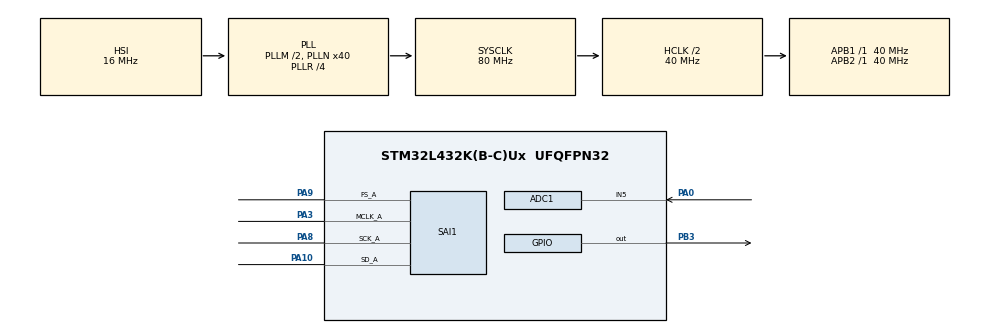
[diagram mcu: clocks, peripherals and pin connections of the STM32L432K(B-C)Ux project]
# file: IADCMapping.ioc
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ADC1.Channel-0\#ChannelRegularConversion=ADC_CHANNEL_5
ADC1.ClockPrescaler=ADC_CLOCK_ASYNC_DIV4
ADC1.DMAContinuousRequests=ENABLE
ADC1.DataAlign=ADC_DATAALIGN_RIGHT
ADC1.ExternalTrigConv=ADC_EXTERNALTRIG_T6_TRGO
ADC1.NbrOfConversion=1
ADC1.NbrOfConversionFlag=1
ADC1.OffsetNumber-0\#ChannelRegularConversion=ADC_OFFSET_NONE
ADC1.Overrun=ADC_OVR_DATA_OVERWRITTEN
ADC1.OversamplingMode=DISABLE
ADC1.Rank-0\#ChannelRegularConversion=1
ADC1.SamplingTime-0\#ChannelRegularConversion=ADC_SAMPLETIME_247CYCLES_5
ADC1.master=1
Dma.ADC1.0.Direction=DMA_PERIPH_TO_MEMORY
Dma.ADC1.0.Instance=DMA1_Channel1
Dma.ADC1.0.MemDataAlignment=DMA_MDATAALIGN_HALFWORD
Dma.ADC1.0.MemInc=DMA_MINC_ENABLE
Dma.ADC1.0.Mode=DMA_CIRCULAR
Dma.ADC1.0.PeriphDataAlignment=DMA_PDATAALIGN_HALFWORD
Dma.ADC1.0.PeriphInc=DMA_PINC_DISABLE
Dma.ADC1.0.Priority=DMA_PRIORITY_HIGH
Dma.Request0=ADC1
Dma.Request1=SAI1_A
Dma.SAI1_A.1.Direction=DMA_MEMORY_TO_PERIPH
Dma.SAI1_A.1.Instance=DMA2_Channel1
Dma.SAI1_A.1.MemDataAlignment=DMA_MDATAALIGN_HALFWORD
Dma.SAI1_A.1.MemInc=DMA_MINC_ENABLE
Dma.SAI1_A.1.Mode=DMA_CIRCULAR
Dma.SAI1_A.1.PeriphDataAlignment=DMA_PDATAALIGN_HALFWORD
Dma.SAI1_A.1.PeriphInc=DMA_PINC_DISABLE
Dma.SAI1_A.1.Priority=DMA_PRIORITY_HIGH
Mcu.Family=STM32L4
Mcu.Name=STM32L432K(B-C)Ux
Mcu.Package=UFQFPN32
NVIC.ADC1_IRQn=true\:0\:0\:false\:false\:true\:true\:true\:true
NVIC.DMA1_Channel1_IRQn=true\:0\:0\:false\:false\:true\:false\:true\:true
NVIC.DMA2_Channel1_IRQn=true\:0\:0\:false\:false\:true\:false\:true\:true
NVIC.PriorityGroup=NVIC_PRIORITYGROUP_4
NVIC.SAI1_IRQn=true\:0\:0\:false\:false\:true\:true\:true\:true
PA0.Signal=ADCx_IN5
PA10.Mode=SAI_A_MasterWithClock
PA10.Signal=SAI1_SD_A
PA3.Mode=SAI_A_MasterWithClock
PA3.Signal=SAI1_MCLK_A
PA8.Mode=SAI_A_MasterWithClock
PA8.Signal=SAI1_SCK_A
PA9.Mode=SAI_A_MasterWithClock
PA9.Signal=SAI1_FS_A
PB3\ (JTDO-TRACESWO).Signal=GPIO_Output
ProjectManager.HeapSize=0x200
ProjectManager.StackSize=0x400
ProjectManager.TargetToolchain=STM32CubeIDE
RCC.ADCCLockSelection=RCC_ADCCLKSOURCE_SYSCLK
RCC.ADCFreq_Value=80000000
RCC.AHBCLKDivider=RCC_SYSCLK_DIV2
RCC.AHBFreq_Value=40000000
RCC.APB1Freq_Value=40000000
RCC.APB1TimFreq_Value=40000000
RCC.APB2Freq_Value=40000000
RCC.APB2TimFreq_Value=40000000
RCC.CortexFreq_Value=40000000
RCC.HCLKFreq_Value=40000000
RCC.HSE_VALUE=8000000
RCC.HSI48_VALUE=48000000
RCC.HSI_VALUE=16000000
RCC.LSE_VALUE=32768
RCC.MSI_VALUE=4000000
RCC.PLLM=2
RCC.PLLN=40
RCC.PLLR=RCC_PLLR_DIV4
RCC.PLLSAI1N=43
RCC.PLLSAI1R=RCC_PLLR_DIV8
RCC.PLLSourceVirtual=RCC_PLLSOURCE_HSI
RCC.SYSCLKFreq_VALUE=80000000
RCC.SYSCLKSource=RCC_SYSCLKSOURCE_PLLCLK
RCC.USBFreq_Value=172000000
RCC.VCOOutputFreq_Value=320000000
SAI1.AudioFrequency-SAI_A_MasterWithClock=SAI_AUDIO_FREQUENCY_48K
SAI1.ErrorAudioFreq-SAI_A_MasterWithClock=-0.01 %
SAI1.InitProtocol-SAI_A_MasterWithClock=Enable
SAI1.Instance-SAI_A_MasterWithClock=SAI$Index_Block_A
SAI1.MClockEnable-SAI_A_MasterWithClock=SAI_MASTERCLOCK_ENABLE
SAI1.MonoStereoMode-SAI_A_MasterWithClock=SAI_MONOMODE
SAI1.OutputDrive-SAI_A_MasterWithClock=SAI_OUTPUTDRIVE_ENABLE
SAI1.RealAudioFreq-SAI_A_MasterWithClock=47.991 KHz
SAI1.VirtualMode-SAI_A_MasterWithClock=VM_MASTER
SAI1.VirtualProtocol-SAI_A_BASIC=VM_BASIC_PROTOCOL
SH.ADCx_IN5.0=ADC1_IN5,IN5-Single-Ended
TIM6.Period=1666
TIM6.TIM_MasterOutputTrigger=TIM_TRGO_UPDATE
VP_SAI1_VP_$IpInstance_SAIA_SAI_BASIC.Mode=SAI_A_BASIC
VP_TIM6_VS_ClockSourceINT.Mode=Enable_Timer
board=custom

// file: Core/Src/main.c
/* USER CODE BEGIN Header */
/**
  ******************************************************************************
  * @file           : main.c
  * @brief          : Main program body
  ******************************************************************************
  * @attention
  *
  * Copyright (c) 2026 STMicroelectronics.
  * All rights reserved.
  *
  * This software is licensed under terms that can be found in the LICENSE file
  * in the root directory of this software component.
  * If no LICENSE file comes with this software, it is provided AS-IS.
  *
  ******************************************************************************
  */
/* USER CODE END Header */
#include "main.h"

ADC_HandleTypeDef hadc1;
DMA_HandleTypeDef hdma_adc1;

SAI_HandleTypeDef hsai_BlockA1;
DMA_HandleTypeDef hdma_sai1_a;

TIM_HandleTypeDef htim6;

/* USER CODE BEGIN PV */
#define ADC_BUF_SIZE 128

// SAI I2S standard always clocks 2 slots (L+R) per frame even in mono mode.
// The DMA transfer unit is one 16-bit half-word per slot, so for 128 audio
// samples we need 128*2 = 256 half-words in the I2S buffer.
// We interleave: even indices = Left (audio), odd indices = Right (silence).
#define AUDIO_SAMPLES  ADC_BUF_SIZE
#define I2S_BUF_SIZE   (AUDIO_SAMPLES * 2)   // 256 half-words

uint16_t adc_buf[ADC_BUF_SIZE];
int16_t  i2s_buf[I2S_BUF_SIZE];              // interleaved L, R, L, R, ...

/* USER CODE END PV */

void SystemClock_Config(void);
static void MX_GPIO_Init(void);
static void MX_DMA_Init(void);
static void MX_ADC1_Init(void);
static void MX_TIM6_Init(void);
static void MX_SAI1_Init(void);

/* USER CODE BEGIN 0 */
void forcesilence(void) {
    memset(i2s_buf, 0, sizeof(i2s_buf));
}

// Helper: convert one ADC sample and write both L and R slots in i2s_buf.
// 'adc_idx'  - index into adc_buf  (0 .. ADC_BUF_SIZE-1)
// 'i2s_base' - first slot index for this sample (always 2*adc_idx)
static inline void convert_sample(int adc_idx, int i2s_base)
{
#define DC_OFFSET  2048
#define NOISE_GATE 0

    int32_t s = ((int32_t)adc_buf[adc_idx] - DC_OFFSET) * 16;
    if (s >  32767) s =  32767;
    if (s < -32768) s = -32768;
    int16_t sample = (int16_t)s;
    int32_t abs_s  = sample < 0 ? -sample : sample;
    int16_t out    = abs_s < NOISE_GATE ? 0 : sample;

    i2s_buf[i2s_base]     = out;   // Left  slot  — carries audio
    i2s_buf[i2s_base + 1] = out;     // Right slot  — also carrying audio
}
/* USER CODE END 0 */

int main(void)
{

  /* MCU Configuration--------------------------------------------------------*/

  /* Reset of all peripherals, Initializes the Flash interface and the Systick. */
  HAL_Init();

  /* Configure the system clock */
  SystemClock_Config();

  /* Initialize all configured peripherals */
  MX_GPIO_Init();
  MX_DMA_Init();
  MX_ADC1_Init();
  MX_TIM6_Init();
  MX_SAI1_Init();
  /* USER CODE BEGIN 2 */

  /* USER CODE BEGIN 2 */

  // Checkpoint 1
  HAL_GPIO_TogglePin(GPIOB, GPIO_PIN_3);
  HAL_Delay(500);

  // Calibrate ADC
  HAL_ADCEx_Calibration_Start(&hadc1, ADC_SINGLE_ENDED);
  HAL_Delay(10);

  // Pre-fill i2s_buf with silence so SAI DMA has valid data immediately
  //forcesilence();

  // Start ADC DMA
  HAL_ADC_Start_DMA(&hadc1, (uint32_t*)adc_buf, ADC_BUF_SIZE);

  // Start SAI DMA — pass I2S_BUF_SIZE (256 half-words = 128 stereo frames)
  HAL_SAI_Transmit_DMA(&hsai_BlockA1, (uint8_t*)i2s_buf, I2S_BUF_SIZE);

  // Start timer last
  HAL_TIM_Base_Start(&htim6);

  // Checkpoint 5 - everything passed
  HAL_GPIO_TogglePin(GPIOB, GPIO_PIN_3);
  HAL_Delay(500);
  HAL_GPIO_TogglePin(GPIOB, GPIO_PIN_3);
  HAL_Delay(500);
  HAL_GPIO_TogglePin(GPIOB, GPIO_PIN_3);
  HAL_Delay(500);
  HAL_GPIO_TogglePin(GPIOB, GPIO_PIN_3);
  HAL_Delay(5000);
  HAL_GPIO_TogglePin(GPIOB, GPIO_PIN_3);
  HAL_Delay(500);

  /* USER CODE END 2 */

  /* Infinite loop */
  while (1)
  {

  }
}

void SystemClock_Config(void)
{
  RCC_OscInitTypeDef RCC_OscInitStruct = {0};
  RCC_ClkInitTypeDef RCC_ClkInitStruct = {0};

  /** Configure the main internal regulator output voltage
  */
  if (HAL_PWREx_ControlVoltageScaling(PWR_REGULATOR_VOLTAGE_SCALE1) != HAL_OK)
  {
    Error_Handler();
  }

  /** Initializes the RCC Oscillators according to the specified parameters
  * in the RCC_OscInitTypeDef structure.
  */
  RCC_OscInitStruct.OscillatorType = RCC_OSCILLATORTYPE_HSI;
  RCC_OscInitStruct.HSIState = RCC_HSI_ON;
  RCC_OscInitStruct.HSICalibrationValue = RCC_HSICALIBRATION_DEFAULT;
  RCC_OscInitStruct.PLL.PLLState = RCC_PLL_ON;
  RCC_OscInitStruct.PLL.PLLSource = RCC_PLLSOURCE_HSI;
  RCC_OscInitStruct.PLL.PLLM = 2;
  RCC_OscInitStruct.PLL.PLLN = 40;
  RCC_OscInitStruct.PLL.PLLP = RCC_PLLP_DIV7;
  RCC_OscInitStruct.PLL.PLLQ = RCC_PLLQ_DIV2;
  RCC_OscInitStruct.PLL.PLLR = RCC_PLLR_DIV4;
  if (HAL_RCC_OscConfig(&RCC_OscInitStruct) != HAL_OK)
  {
    Error_Handler();
  }

  /** Initializes the CPU, AHB and APB buses clocks
  */
  RCC_ClkInitStruct.ClockType = RCC_CLOCKTYPE_HCLK|RCC_CLOCKTYPE_SYSCLK
                              |RCC_CLOCKTYPE_PCLK1|RCC_CLOCKTYPE_PCLK2;
  RCC_ClkInitStruct.SYSCLKSource = RCC_SYSCLKSOURCE_PLLCLK;
  RCC_ClkInitStruct.AHBCLKDivider = RCC_SYSCLK_DIV2;
  RCC_ClkInitStruct.APB1CLKDivider = RCC_HCLK_DIV1;
  RCC_ClkInitStruct.APB2CLKDivider = RCC_HCLK_DIV1;

  if (HAL_RCC_ClockConfig(&RCC_ClkInitStruct, FLASH_LATENCY_2) != HAL_OK)
  {
    Error_Handler();
  }
}

static void MX_ADC1_Init(void)
{

  ADC_ChannelConfTypeDef sConfig = {0};

  /** Common config
  */
  hadc1.Instance = ADC1;
  hadc1.Init.ClockPrescaler = ADC_CLOCK_ASYNC_DIV4;
  hadc1.Init.Resolution = ADC_RESOLUTION_12B;
  hadc1.Init.DataAlign = ADC_DATAALIGN_RIGHT;
  hadc1.Init.ScanConvMode = ADC_SCAN_DISABLE;
  hadc1.Init.EOCSelection = ADC_EOC_SINGLE_CONV;
  hadc1.Init.LowPowerAutoWait = DISABLE;
  hadc1.Init.ContinuousConvMode = DISABLE;
  hadc1.Init.NbrOfConversion = 1;
  hadc1.Init.DiscontinuousConvMode = DISABLE;
  hadc1.Init.ExternalTrigConv = ADC_EXTERNALTRIG_T6_TRGO;
  hadc1.Init.ExternalTrigConvEdge = ADC_EXTERNALTRIGCONVEDGE_RISING;
  hadc1.Init.DMAContinuousRequests = ENABLE;
  hadc1.Init.Overrun = ADC_OVR_DATA_OVERWRITTEN;
  hadc1.Init.OversamplingMode = DISABLE;
  if (HAL_ADC_Init(&hadc1) != HAL_OK)
  {
    Error_Handler();
  }

  /** Configure Regular Channel
  */
  sConfig.Channel = ADC_CHANNEL_5;
  sConfig.Rank = ADC_REGULAR_RANK_1;
  sConfig.SamplingTime = ADC_SAMPLETIME_247CYCLES_5;
  sConfig.SingleDiff = ADC_SINGLE_ENDED;
  sConfig.OffsetNumber = ADC_OFFSET_NONE;
  sConfig.Offset = 0;
  if (HAL_ADC_ConfigChannel(&hadc1, &sConfig) != HAL_OK)
  {
    Error_Handler();
  }

}

static void MX_SAI1_Init(void)
{

  hsai_BlockA1.Instance = SAI1_Block_A;
  hsai_BlockA1.Init.AudioMode = SAI_MODEMASTER_TX;
  hsai_BlockA1.Init.Synchro = SAI_ASYNCHRONOUS;
  hsai_BlockA1.Init.OutputDrive = SAI_OUTPUTDRIVE_ENABLE;
  hsai_BlockA1.Init.NoDivider = SAI_MASTERDIVIDER_ENABLE;
  hsai_BlockA1.Init.FIFOThreshold = SAI_FIFOTHRESHOLD_EMPTY;
  hsai_BlockA1.Init.AudioFrequency = SAI_AUDIO_FREQUENCY_48K;
  hsai_BlockA1.Init.SynchroExt = SAI_SYNCEXT_DISABLE;
  hsai_BlockA1.Init.MonoStereoMode = SAI_MONOMODE;
  hsai_BlockA1.Init.CompandingMode = SAI_NOCOMPANDING;
  hsai_BlockA1.Init.TriState = SAI_OUTPUT_NOTRELEASED;
  if (HAL_SAI_InitProtocol(&hsai_BlockA1, SAI_I2S_STANDARD, SAI_PROTOCOL_DATASIZE_16BIT, 2) != HAL_OK)
  {
    Error_Handler();
  }

}

static void MX_TIM6_Init(void)
{

  TIM_MasterConfigTypeDef sMasterConfig = {0};

  htim6.Instance = TIM6;
  htim6.Init.Prescaler = 0;
  htim6.Init.CounterMode = TIM_COUNTERMODE_UP;
  htim6.Init.Period = 1666;
  htim6.Init.AutoReloadPreload = TIM_AUTORELOAD_PRELOAD_DISABLE;
  if (HAL_TIM_Base_Init(&htim6) != HAL_OK)
  {
    Error_Handler();
  }
  sMasterConfig.MasterOutputTrigger = TIM_TRGO_UPDATE;
  sMasterConfig.MasterSlaveMode = TIM_MASTERSLAVEMODE_DISABLE;
  if (HAL_TIMEx_MasterConfigSynchronization(&htim6, &sMasterConfig) != HAL_OK)
  {
    Error_Handler();
  }

}

static void MX_DMA_Init(void)
{

  /* DMA controller clock enable */
  __HAL_RCC_DMA1_CLK_ENABLE();
  __HAL_RCC_DMA2_CLK_ENABLE();

  /* DMA interrupt init */
  /* DMA1_Channel1_IRQn interrupt configuration */
  HAL_NVIC_SetPriority(DMA1_Channel1_IRQn, 0, 0);
  HAL_NVIC_EnableIRQ(DMA1_Channel1_IRQn);
  /* DMA2_Channel1_IRQn interrupt configuration */
  HAL_NVIC_SetPriority(DMA2_Channel1_IRQn, 0, 0);
  HAL_NVIC_EnableIRQ(DMA2_Channel1_IRQn);

}

static void MX_GPIO_Init(void)
{
  GPIO_InitTypeDef GPIO_InitStruct = {0};

  /* GPIO Ports Clock Enable */
  __HAL_RCC_GPIOA_CLK_ENABLE();
  __HAL_RCC_GPIOB_CLK_ENABLE();

  /*Configure GPIO pin Output Level */
  HAL_GPIO_WritePin(GPIOB, GPIO_PIN_3, GPIO_PIN_RESET);

  /*Configure GPIO pin : PB3 */
  GPIO_InitStruct.Pin = GPIO_PIN_3;
  GPIO_InitStruct.Mode = GPIO_MODE_OUTPUT_PP;
  GPIO_InitStruct.Pull = GPIO_NOPULL;
  GPIO_InitStruct.Speed = GPIO_SPEED_FREQ_LOW;
  HAL_GPIO_Init(GPIOB, &GPIO_InitStruct);

}

/* USER CODE BEGIN 4 */

/* Process first half of buffers (0 to 63) */
void HAL_ADC_ConvHalfCpltCallback(ADC_HandleTypeDef* hadc) {
    // 1. Process the audio samples
    for (int i = 0; i < 64; i++) {
        convert_sample(i, i * 2);
    }

    // 2. Closed-Loop Clock Synchronization (SPLL)
    // Get remaining half-words to transfer in the circular SAI DMA buffer
    uint32_t remaining = __HAL_DMA_GET_COUNTER(&hdma_sai1_a);
    // Convert to a sample index (0 to 127)
    uint32_t sai_sample_idx = (I2S_BUF_SIZE - remaining) / 2;

    // When ADC finishes the first half (0-63), the SAI reader should ideally
    // be dead-center in the second half (index 96) to maximize safety margin.
    int32_t error = (int32_t)sai_sample_idx - 96;

    // Handle circular wrap-around corrections
    if (error > 64)  error -= 128;
    if (error < -64) error += 128;

    // Micro-adjust TIM6 auto-reload register based on drift direction
    if (error > 0) {
        TIM6->ARR = 1665; // SAI is running ahead; speed up the ADC
    } else if (error < 0) {
        TIM6->ARR = 1667; // SAI is lagging behind; slow down the ADC
    } else {
        TIM6->ARR = 1666; // Perfectly matched phase
    }
}

/* Process second half of buffers (64 to 127) */
void HAL_ADC_ConvCpltCallback(ADC_HandleTypeDef* hadc) {
    // 1. Process the audio samples
    for (int i = 64; i < 128; i++) {
        convert_sample(i, i * 2);
    }

    // 2. Closed-Loop Clock Synchronization (SPLL)
    uint32_t remaining = __HAL_DMA_GET_COUNTER(&hdma_sai1_a);
    uint32_t sai_sample_idx = (I2S_BUF_SIZE - remaining) / 2;

    // When ADC finishes the second half (64-127), the SAI reader should ideally
    // be dead-center in the first half (index 32).
    int32_t error = (int32_t)sai_sample_idx - 32;

    if (error > 64)  error -= 128;
    if (error < -64) error += 128;

    if (error > 0) {
        TIM6->ARR = 1665; // SAI is running ahead; speed up the ADC
    } else if (error < 0) {
        TIM6->ARR = 1667; // SAI is lagging behind; slow down the ADC
    } else {
        TIM6->ARR = 1666; // Perfectly matched phase
    }
}

/* USER CODE END 4 */

void Error_Handler(void)
{
  __disable_irq();
  while (1)
  {
  }
}
